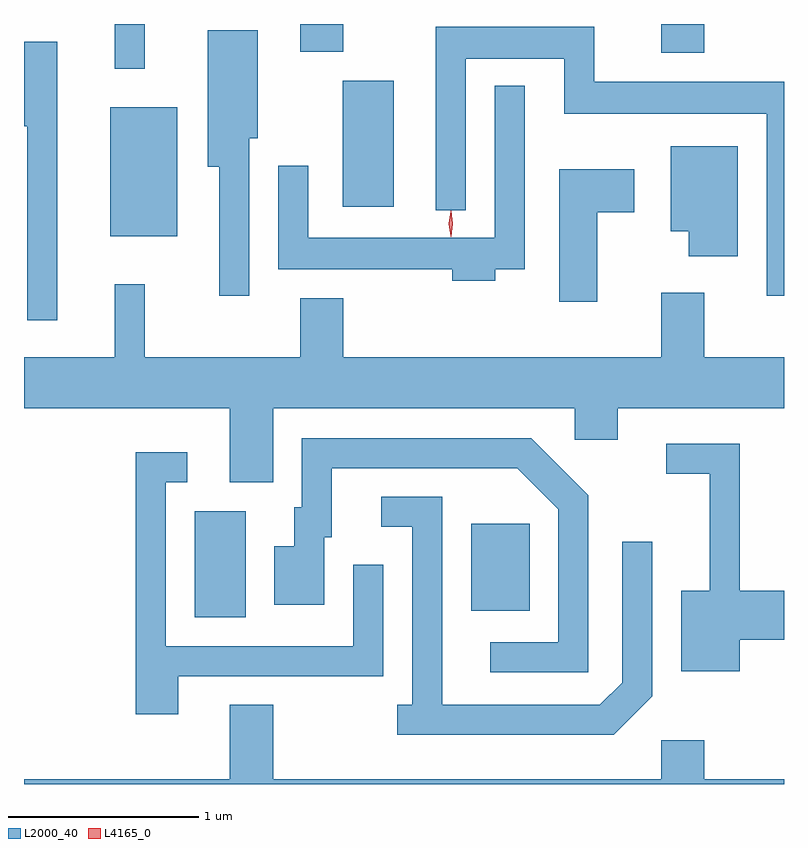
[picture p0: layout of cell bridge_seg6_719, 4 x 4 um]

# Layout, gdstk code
import gdstk
lib = gdstk.Library(unit=1e-6, precision=1e-09)
def R(c, l, rs):  # rectangles x0, y0, x1, y1
    for r in rs: c.add(gdstk.rectangle(r[:2], r[2:], *l))
def P(c, l, *ps):  # polygons
    for p in ps: c.add(gdstk.Polygon(p, *l))
L2000_40 = (2000, 40)
L4165_0 = (4165, 0)

bridge_seg6_719 = lib.new_cell('bridge_seg6_719')
R(bridge_seg6_719, L2000_40, [(417.616,1577.796,417.884,1578.354), (419.071,1577.831,419.379,1578.289), (417.171,1579.801,417.524,1580.479), (418.396,1579.956,418.664,1580.619), (417.196,1580.683,417.354,1580.918), (420.071,1580.766,420.299,1580.918), (418.171,1580.771,418.399,1580.918)])
P(bridge_seg6_719, L2000_40, [(420.718,1580.614),(419.719,1580.614),(419.719,1580.904),(418.886,1580.904),(418.886,1579.938),(419.044,1579.938),(419.044,1580.736),(419.561,1580.736),(419.561,1580.446),(420.626,1580.446),(420.626,1579.488),(420.718,1579.488)],
  [(417.904,1580.316),(417.949,1580.316),(417.949,1580.884),(417.686,1580.884),(417.686,1580.166),(417.746,1580.166),(417.746,1579.488),(417.904,1579.488)],
  [(416.894,1580.824),(416.718,1580.824),(416.718,1580.381),(416.736,1580.381),(416.736,1579.358),(416.894,1579.358)],
  [(419.199,1579.626),(419.354,1579.626),(419.354,1580.593),(419.196,1580.593),(419.196,1579.794),(418.214,1579.794),(418.214,1580.173),(418.056,1580.173),(418.056,1579.626),(418.971,1579.626),(418.971,1579.566),(419.199,1579.566)],
  [(420.474,1580.274),(420.121,1580.274),(420.121,1579.826),(420.216,1579.826),(420.216,1579.696),(420.474,1579.696)],
  [(419.734,1579.926),(419.929,1579.926),(419.929,1580.154),(419.536,1580.154),(419.536,1579.456),(419.734,1579.456)],
  [(418.029,1578.896),(419.616,1578.896),(419.616,1578.731),(419.844,1578.731),(419.844,1578.896),(420.718,1578.896),(420.718,1579.164),(420.299,1579.164),(420.299,1579.504),(420.071,1579.504),(420.071,1579.164),(418.399,1579.164),(418.399,1579.474),(418.171,1579.474),(418.171,1579.164),(417.354,1579.164),(417.354,1579.548),(417.196,1579.548),(417.196,1579.164),(416.718,1579.164),(416.718,1578.896),(417.801,1578.896),(417.801,1578.506),(418.029,1578.506)],
  [(419.689,1578.437),(419.387,1578.739),(418.181,1578.739),(418.181,1578.374),(418.141,1578.374),(418.141,1578.169),(418.036,1578.169),(418.036,1577.861),(418.299,1577.861),(418.299,1578.216),(418.339,1578.216),(418.339,1578.581),(419.314,1578.581),(419.531,1578.364),(419.531,1577.664),(419.173,1577.664),(419.173,1577.506),(419.689,1577.506)],
  [(420.484,1577.676),(420.718,1577.676),(420.718,1577.934),(420.484,1577.934),(420.484,1578.709),(420.098,1578.709),(420.098,1578.551),(420.326,1578.551),(420.326,1577.934),(420.176,1577.934),(420.176,1577.511),(420.484,1577.511)],
  [(417.529,1577.486),(418.609,1577.486),(418.609,1578.073),(418.451,1578.073),(418.451,1577.644),(417.464,1577.644),(417.464,1578.506),(417.578,1578.506),(417.578,1578.664),(417.306,1578.664),(417.306,1577.286),(417.529,1577.286)],
  [(420.024,1577.379),(420.024,1578.193),(419.866,1578.193),(419.866,1577.452),(419.749,1577.334),(418.919,1577.334),(418.919,1578.429),(418.598,1578.429),(418.598,1578.271),(418.761,1578.271),(418.761,1577.334),(418.683,1577.334),(418.683,1577.176),(419.822,1577.176)],
  [(420.718,1576.944),(420.299,1576.944),(420.299,1577.149),(420.071,1577.149),(420.071,1576.944),(418.029,1576.944),(418.029,1577.334),(417.801,1577.334),(417.801,1576.944),(416.718,1576.944),(416.718,1576.918),(420.718,1576.918)])
P(bridge_seg6_719, L4165_0, [(418.965,1579.797),(418.964,1579.798),(418.955,1579.866),(418.964,1579.936),(418.965,1579.936),(418.966,1579.936),(418.975,1579.866),(418.966,1579.798)],
  [(418.964,1579.799),(418.964,1579.8),(418.954,1579.866),(418.964,1579.932),(418.964,1579.933),(418.965,1579.932),(418.974,1579.866),(418.965,1579.8)])

lib.write_gds('bridge_seg6_719.gds')
